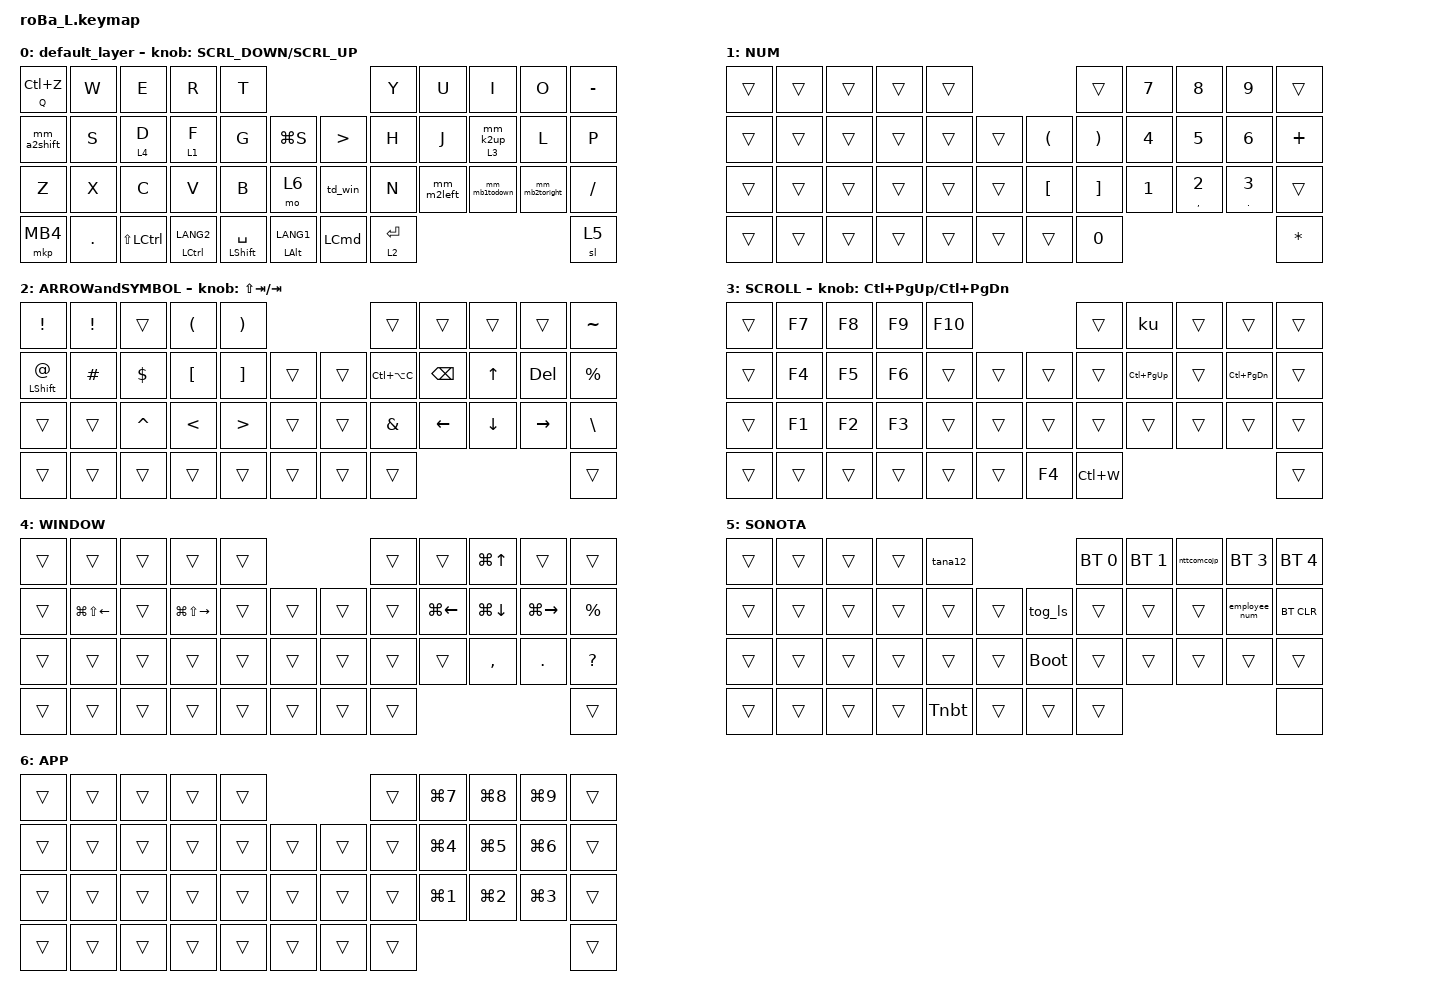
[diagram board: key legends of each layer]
#include <layout_shift.dtsi>
#include <layout_shift_kp_override.dtsi>

// jis-us変換用

#include <layout_shift.dtsi>
#include <behaviors.dtsi>
#include <dt-bindings/zmk/bt.h>
#include <dt-bindings/zmk/keys.h>
#include <dt-bindings/zmk/pointing.h>

/ {
    behaviors {
        // Keep the original key_press behavior for ZMK core components

        original_key_press: original_key_press {
            compatible = "zmk,behavior-key-press";
            #binding-cells = <1>;
            label = "KEY_PRESS";
        };

        // Override the existing &kp behavior to use our custom implementation

        kp: key_press {
            compatible = "zmk,behavior-layout-shift-key-press";
            #binding-cells = <1>;
            label = "LAYOUT_SHIFT_KEY_PRESS";
        };
    };
};

#define MOUSE 4
#define SCROLL 5
#define NUM 6

// スクロール速度を設定
// #define ZMK_MOUSE_DEFAULT_SCRL_VAL 50

#define ZMK_POINTING_DEFAULT_SCRL_VAL 100

&mt {
    flavor = "balanced";
    quick-tap-ms = <0>;
};

/ {
    combos {
        compatible = "zmk,combos";

        tab {
            bindings = <&kp LS(TAB)>;
            key-positions = <1 2>;
        };

        double_quotation {
            bindings = <&kp SQT>;
            key-positions = <33 32>;
        };

        eq {
            bindings = <&kp EQUAL>;
            key-positions = <8 9>;
        };

        colon {
            bindings = <&kp SEMICOLON>;
            key-positions = <20 21>;
        };

        middle_ckick {
            bindings = <&mkp MB3>;
            key-positions = <31 32>;
        };

        copy {
            bindings = <&kp LC(C)>;
            key-positions = <11 12>;
        };

        paste {
            bindings = <&kp LC(V)>;
            key-positions = <20 19>;
        };

        esc {
            bindings = <&kp ESC>;
            key-positions = <0 1>;
        };

        ctrl_w {
            bindings = <&kp LC(W)>;
            key-positions = <41 19>;
        };

        mission_control {
            bindings = <&kp F3>;
            key-positions = <19 40>;
        };

        tab2 {
            bindings = <&kp TAB>;
            key-positions = <7 8>;
        };

        ctrl+z {
            bindings = <&kp LC(Z)>;
            key-positions = <37 10>;
        };

        ctrl-shift {
            bindings = <&kp LS(LCTRL)>;
            key-positions = <41 37>;
        };

        mb4 {
            bindings = <&mkp MB4>;
            key-positions = <23 24>;
        };

        lang2 {
            bindings = <&kp LANG2>;
            key-positions = <13 12>;
        };

        lang1 {
            bindings = <&kp LANG1>;
            key-positions = <18 19>;
        };
    };

    macros {
        to_layer_0: to_layer_0 {
            compatible = "zmk,behavior-macro-one-param";
            #binding-cells = <1>;
            bindings = <&to 0 &macro_param_1to1 &kp MACRO_PLACEHOLDER>;
            label = "TO_LAYER_0";
        };

        linked_brackets: linked_brackets {
            compatible = "zmk,behavior-macro";
            #binding-cells = <0>;
            bindings = <&kp LANG1 &kp LBKT &kp RBKT &kp SPACE>;
            label = "LINKED_BRACKETS";
        };

        parentheses: parentheses {
            compatible = "zmk,behavior-macro";
            #binding-cells = <0>;
            bindings = <&kp LPAR &kp RPAR &kp LEFT>;
            label = "PARENTHESES";
        };

        employee_num: employee_num {
            compatible = "zmk,behavior-macro";
            #binding-cells = <0>;
            bindings = <&kp LANG2 &kp N6 &kp N6 &kp N9 &kp N6 &kp N8 &kp N4 &kp N1>;
            label = "EMPLOYEE_NUM";
        };

        Tnbt: Tnbt {
            compatible = "zmk,behavior-macro";
            #binding-cells = <0>;
            bindings = <&kp LS(T) &kp A &kp N &kp A &kp B &kp O &kp T &kp A>;
            label = "TNBT";
        };

        nttcomcojp: nttcomcojp {
            compatible = "zmk,behavior-macro";
            #binding-cells = <0>;
            bindings = <&kp LANG2 &kp I &kp B &kp U &kp K &kp A &kp DOT &kp R &kp Y &kp O &kp M &kp A &kp AT &kp N &kp T &kp T &kp C &kp O &kp M &kp DOT &kp C &kp O &kp DOT &kp J &kp P>;
            label = "NTTCOMCOJP";
        };

        tana12: tana12 {
            compatible = "zmk,behavior-macro";
            #binding-cells = <0>;
            bindings = <&kp T &kp A &kp N &kp A &kp B &kp O &kp T &kp A &kp N1 &kp N2>;
            label = "TANA12";
        };

        ku: ku {
            compatible = "zmk,behavior-macro";
            #binding-cells = <0>;
            bindings = <&kp K &kp U>;
            label = "KU";
        };
    };

    behaviors {
        lt_to_layer_0: lt_to_layer_0 {
            compatible = "zmk,behavior-hold-tap";
            label = "LAYER_TAP_TO_0";
            bindings = <&mo>, <&to_layer_0>;

            #binding-cells = <2>;
            tapping-term-ms = <200>;
        };

        rotate_scroll: rotate_scroll {
            compatible = "zmk,behavior-sensor-rotate-var";
            label = "ROTATE_SCROLL";
            #sensor-binding-cells = <2>;
            bindings = <&msc>, <&msc>;

            tap-ms = <20>;
        };

        rotate_kp: rotate_kp {
            compatible = "zmk,behavior-sensor-rotate-var";
            label = "ROTATE_KP";
            #sensor-binding-cells = <2>;
            bindings = <&kp>, <&kp>;

            tap-ms = <20>;
        };

        up2left: up2left {
            compatible = "zmk,behavior-mod-morph";
            label = "UP2LEFT";
            bindings = <&msc SCRL_UP>, <&msc SCRL_LEFT>;

            #binding-cells = <0>;
            mods = <(MOD_LSFT)>;
        };

        down2right: down2right {
            compatible = "zmk,behavior-mod-morph";
            label = "DOWN2RIGHT";
            bindings = <&msc SCRL_DOWN>, <&msc SCRL_RIGHT>;

            #binding-cells = <0>;
            mods = <(MOD_LSFT)>;
        };

        td_left_brackets: td_left_brackets {
            compatible = "zmk,behavior-tap-dance";
            label = "TD_LEFT_BRACKETS";
            #binding-cells = <0>;
            bindings = <&kp LPAR>, <&kp LBKT>, <&kp LESS_THAN>;

            tapping-term-ms = <250>;
        };

        td_right_brackets: td_right_brackets {
            compatible = "zmk,behavior-tap-dance";
            label = "TD_RIGHT_BRACKETS";
            #binding-cells = <0>;
            bindings = <&kp RPAR>, <&kp RBKT>, <&kp GREATER_THAN>;

            tapping-term-ms = <250>;
        };

        td_nyoro: td_nyoro {
            compatible = "zmk,behavior-tap-dance";
            label = "TD_NYORO";
            #binding-cells = <0>;
            bindings = <&kp MINUS>, <&kp TILDE>;
        };

        PGUP2LEFT: PGUP2LEFT {
            compatible = "zmk,behavior-mod-morph";
            label = "PGUP2LEFT";
            bindings = <&kp PAGE_UP>, <&kp LEFT>;

            #binding-cells = <0>;
            mods = <(MOD_LSFT)>;
            keep-mods = <(MOD_LSFT)>;
        };

        PGDOWN2RIGHT: PGDOWN2RIGHT {
            compatible = "zmk,behavior-mod-morph";
            label = "PGDOWN2RIGHT";
            bindings = <&kp PAGE_DOWN>, <&kp RIGHT>;

            #binding-cells = <0>;
            mods = <(MOD_LSFT)>;
            keep-mods = <(MOD_LSFT)>;
        };

        rotate_pgupdown: rotate_pgupdown {
            compatible = "zmk,behavior-sensor-rotate";
            label = "ROTATE_PGUPDOWN";
            #sensor-binding-cells = <0>;
            bindings = <&PGDOWN2RIGHT>, <&PGUP2LEFT>;
        };

        td_ctrl: td_ctrl {
            compatible = "zmk,behavior-tap-dance";
            label = "TD_CTRL";
            #binding-cells = <0>;
            bindings = <&kp LCTRL>, <&kp LS(LCTRL)>;
        };

        td_win: td_win {
            compatible = "zmk,behavior-tap-dance";
            label = "TD_WIN";
            #binding-cells = <0>;
            bindings = <&kp LGUI>, <&kp LS(LGUI)>;
        };

        mm_a2shift: mm_a2shift {
            compatible = "zmk,behavior-mod-morph";
            label = "MM_A2SHIFT";
            bindings = <&kp A>, <&mt LEFT_SHIFT A>;

            #binding-cells = <0>;
            mods = <(MOD_LCTL|MOD_LGUI|MOD_LALT)>;
            keep-mods = <(MOD_LCTL|MOD_LGUI|MOD_LALT)>;
        };

        mm_m2left_sub: mm_m2left_sub {
            compatible = "zmk,behavior-mod-morph";
            label = "MM_M2LEFT_SUB";
            bindings = <&kp M>, <&kp LEFT>;

            #binding-cells = <0>;
            mods = <(MOD_LCTL)>;
            keep-mods = <(MOD_LCTL)>;
        };

        mm_m2left: mm_m2left {
            compatible = "zmk,behavior-mod-morph";
            label = "MM_M2LEFT";
            bindings = <&kp M>, <&mm_m2left_sub>;

            #binding-cells = <0>;
            mods = <(MOD_LSFT)>;
            keep-mods = <(MOD_LSFT)>;
        };

        mm_mb1todown_sub: mm_mb1todown_sub {
            compatible = "zmk,behavior-mod-morph";
            label = "MM_MB1TODOWN_SUB";
            bindings = <&mkp MB1>, <&kp DOWN>;

            #binding-cells = <0>;
            mods = <(MOD_LCTL)>;
            keep-mods = <(MOD_LCTL)>;
        };

        mm_mb1todown: mm_mb1todown {
            compatible = "zmk,behavior-mod-morph";
            label = "MM_MB1TODOWN";
            bindings = <&mkp MB1>, <&mm_mb1todown_sub>;

            #binding-cells = <0>;
            mods = <(MOD_LSFT)>;
            keep-mods = <(MOD_LSFT)>;
        };

        mm_mb2toright_sub: mm_mb2toright_sub {
            compatible = "zmk,behavior-mod-morph";
            label = "MM_MB2TORIGHT_SUB";
            bindings = <&mkp MB2>, <&kp RIGHT>;

            #binding-cells = <0>;
            mods = <(MOD_LCTL)>;
            keep-mods = <(MOD_LCTL)>;
        };

        mm_mb2toright: mm_mb2toright {
            compatible = "zmk,behavior-mod-morph";
            label = "MM_MB2TORIGHT";
            bindings = <&mkp MB2>, <&mm_mb2toright_sub>;

            #binding-cells = <0>;
            mods = <(MOD_LSFT)>;
            keep-mods = <(MOD_LSFT)>;
        };

        mm_k2up_sub: mm_k2up_sub {
            compatible = "zmk,behavior-mod-morph";
            label = "MM_K2UP_SUB";
            bindings = <&kp K>, <&kp UP>;

            #binding-cells = <0>;
            mods = <(MOD_LCTL)>;
            keep-mods = <(MOD_LCTL)>;
        };

        mm_k2up: mm_k2up {
            compatible = "zmk,behavior-mod-morph";
            label = "MM_K2UP";
            bindings = <&kp K>, <&mm_k2up_sub>;

            #binding-cells = <0>;
            mods = <(MOD_LSFT)>;
            keep-mods = <(MOD_LSFT)>;
        };

        ht_k_layer: ht_k_layer {
            compatible = "zmk,behavior-hold-tap";
            label = "HT_K_LAYER";
            bindings = <&mo>, <&mm_k2up>;

            #binding-cells = <2>;
            tapping-term-ms = <150>;
            flavor = "balanced";
        };
    };

    keymap {
        compatible = "zmk,keymap";

        default_layer {
            bindings = <
&mt Q LC(Z)  &kp W       &kp E          &kp R            &kp T                                                           &kp Y        &kp U       &kp I            &kp O           &kp MINUS
&mm_a2shift  &kp S       &lt 4 D        &lt 1 F          &kp G                 &kp LG(S)               &kp GREATER_THAN  &kp H        &kp J       &ht_k_layer 3 0  &kp L           &kp P
&kp Z        &kp X       &kp C          &kp V            &kp B                 &mo 6                   &td_win           &kp N        &mm_m2left  &mm_mb1todown    &mm_mb2toright  &kp SLASH
&mkp MB4     &kp PERIOD  &kp LS(LCTRL)  &mt LCTRL LANG2  &mt LEFT_SHIFT SPACE  &mt LEFT_ALT LANG1      &kp LEFT_COMMAND  &lt 2 ENTER                                               &sl 5
            >;

            sensor-bindings = <&rotate_scroll SCRL_DOWN SCRL_UP>;
        };

        NUM {
            bindings = <
&trans  &trans  &trans  &trans  &trans                        &trans    &kp N7  &kp N8              &kp N9         &trans
&trans  &trans  &trans  &trans  &trans  &trans      &kp LPAR  &kp RPAR  &kp N4  &kp N5              &kp N6         &kp PLUS
&trans  &trans  &trans  &trans  &trans  &trans      &kp LBKT  &kp RBKT  &kp N1  &mt COMMA NUMBER_2  &mt PERIOD N3  &trans
&trans  &trans  &trans  &trans  &trans  &trans      &trans    &kp N0                                               &kp ASTRK
            >;
        };

        ARROWandSYMBOL {
            bindings = <
&kp EXCL           &kp EXCL  &trans      &kp LPAR       &kp RPAR                              &trans         &trans    &trans    &trans     &kp TILDE
&mt LEFT_SHIFT AT  &kp HASH  &kp DOLLAR  &kp LBKT       &kp RBKT          &trans      &trans  &kp LC(LA(C))  &kp BSPC  &kp UP    &kp DEL    &kp PERCENT
&trans             &trans    &kp CARET   &kp LESS_THAN  &kp GREATER_THAN  &trans      &trans  &kp AMPS       &kp LEFT  &kp DOWN  &kp RIGHT  &kp BACKSLASH
&trans             &trans    &trans      &trans         &trans            &trans      &trans  &trans                                        &trans
            >;

            sensor-bindings = <&rotate_kp LS(TAB) TAB>;
        };

        SCROLL {
            bindings = <
&trans  &kp F7  &kp F8  &kp F9  &kp F10                      &trans     &ku              &trans  &trans             &trans
&trans  &kp F4  &kp F5  &kp F6  &trans   &trans      &trans  &trans     &kp LC(PAGE_UP)  &trans  &kp LC(PAGE_DOWN)  &trans
&trans  &kp F1  &kp F2  &kp F3  &trans   &trans      &trans  &trans     &trans           &trans  &trans             &trans
&trans  &trans  &trans  &trans  &trans   &trans      &kp F4  &kp LC(W)                                              &trans
            >;

            sensor-bindings = <&rotate_kp LC(PAGE_UP) LC(PAGE_DOWN)>;
        };

        WINDOW {
            bindings = <
&trans  &trans            &trans  &trans             &trans                      &trans  &trans        &kp LG(UP)    &trans         &trans
&trans  &kp LG(LS(LEFT))  &trans  &kp LG(LS(RIGHT))  &trans  &trans      &trans  &trans  &kp LG(LEFT)  &kp LG(DOWN)  &kp LG(RIGHT)  &kp PERCENT
&trans  &trans            &trans  &trans             &trans  &trans      &trans  &trans  &trans        &kp COMMA     &kp PERIOD     &kp QMARK
&trans  &trans            &trans  &trans             &trans  &trans      &trans  &trans                                             &trans
            >;
        };

        SONOTA {
            bindings = <
&trans  &trans  &trans  &trans  &tana12                           &bt BT_SEL 0  &bt BT_SEL 1  &nttcomcojp  &bt BT_SEL 3   &bt BT_SEL 4
&trans  &trans  &trans  &trans  &trans   &trans      &tog_ls      &trans        &trans        &trans       &employee_num  &bt BT_CLR
&trans  &trans  &trans  &trans  &trans   &trans      &bootloader  &trans        &trans        &trans       &trans         &trans
&trans  &trans  &trans  &trans  &Tnbt    &trans      &trans       &trans                                                  &none
            >;
        };

        APP {
            bindings = <
&trans  &trans  &trans  &trans  &trans                      &trans  &kp LG(N7)  &kp LG(N8)  &kp LG(N9)  &trans
&trans  &trans  &trans  &trans  &trans  &trans      &trans  &trans  &kp LG(N4)  &kp LG(N5)  &kp LG(N6)  &trans
&trans  &trans  &trans  &trans  &trans  &trans      &trans  &trans  &kp LG(N1)  &kp LG(N2)  &kp LG(N3)  &trans
&trans  &trans  &trans  &trans  &trans  &trans      &trans  &trans                                      &trans
            >;
        };
    };
};
